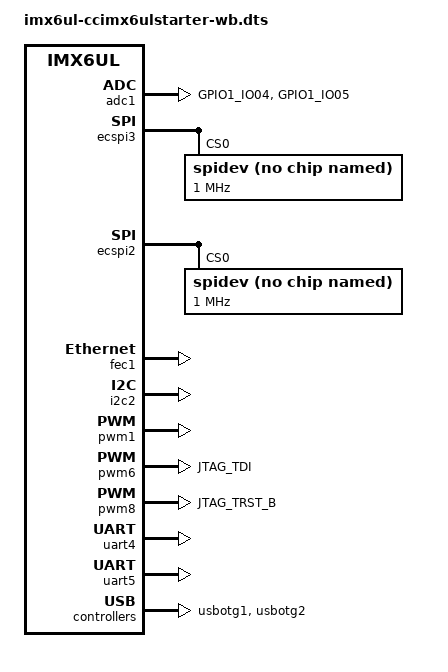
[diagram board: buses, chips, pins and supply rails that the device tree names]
/*
 * Copyright 2016, 2017 Digi International, Inc.
 *
 * The code contained herein is licensed under the GNU General Public
 * License. You may obtain a copy of the GNU General Public License
 * Version 2 or later at the following locations:
 *
 * http://www.opensource.org/licenses/gpl-license.html
 * http://www.gnu.org/copyleft/gpl.html
 */

/dts-v1/;
#include <dt-bindings/input/input.h>
#include <dt-bindings/interrupt-controller/irq.h>
/* i.MX6 UltraLite CPU */
#include "imx6ul.dtsi"
/* ConnectCore 6UL (wireless/bluetooth variant) */
#include "imx6ul-ccimx6ul-wb.dtsi"
/* ConnectCore 6UL StarterBoard */
#include "imx6ul-ccimx6ulstarter.dtsi"

/*
 * Include in adc-ch-list the ADC channels (from 0 to 9) that you want to
 * enable. Note that the iomux has to be configured accordingly in pinctrl_adc1
 * to configure the pad for ADC operation
 */
&adc1 {
	pinctrl-names = "default";
	pinctrl-0 = <&pinctrl_adc1>;
	adc-ch-list = <4 5>;
	status = "okay";
};

/* ECSPI3 (as master - Raspberry PI Expansion header) */
&ecspi3 {
	status = "okay";

	/*
	 * Add your slave devices here. Next is an example of spidev.
	 * Expect a harmless kernel warning if you enable spidev as slave.
	 */
	spidev@0 {
		reg = <0>;
		compatible = "spidev";
		spi-max-frequency = <1000000>;
	};
};

&ecspi2 {
	status = "okay";

	/*
        * Add your slave devices here. Next is an example of spidev.
        * Expect a harmless kernel warning if you enable spidev as slave.
        */
	spidev@0 {
		reg = <0>;
		compatible = "spidev";
		spi-max-frequency = <1000000>;
	};
};

&fec1 {
	status = "okay";
};

/* I2C2 (Raspberry PI Expansion header and Grove connector) */
&i2c2 {
	status = "okay";
};

/* MCA IO0 connected to Grove ADC connector */
&mca_adc {
	digi,adc-ch-list = <0 4>;
	digi,adc-vref = <3000000>;
};

/* Uncomment to Enable Tamper detection. There are 2 digital (0 and 1) and 2
 * analog (2 and 3) tamper interfaces.
 */
//&mca_tamper {
//	digi,tamper-if-list = <0 1 2 3>;
//};

/* PWM1 (Raspberry PI Expansion header) */
&pwm1 {
	status = "okay";
};

&pwm6 {
	pinctrl-names = "default";
	pinctrl-0 = <&pinctrl_pwm6>;
	status = "okay";
};

&pwm8 {
	pinctrl-names = "default";
	pinctrl-0 = <&pinctrl_pwm8>;
	status = "okay";
};

/* UART4 (Raspberry PI Expansion header) */
&uart4 {
	status = "okay";
};

/* UART5 (Console) */
&uart5 {
	status = "okay";
};

&usbotg1 {
	status = "okay";
};

&usbotg2 {
	status = "okay";
};

/* Pin mux configuration */
&iomuxc {
	pinctrl-0 =  <&pinctrl_hog>, <&pinctrl_expansion>;

	imx6ul-ccimx6ul {
		pinctrl_adc1: adc1grp {
			fsl,pins = <
				/* GPIO1_4/ADC1_IN4 (pin 7 of the expansion header) */
				MX6UL_PAD_GPIO1_IO04__GPIO1_IO04        0xb0
				/* GPIO1_5/ADC1_IN5 (pin 29 of the expansion header) */
				MX6UL_PAD_GPIO1_IO05__GPIO1_IO05        0xb0
			>;
		};
	
		pinctrl_pwm6: pwm6grp {
			fsl,pins = <
				MX6UL_PAD_JTAG_TDI__PWM6_OUT		0x10b0
			>;
		};
	
		pinctrl_pwm8: pwm8grp {
			fsl,pins = <
				MX6UL_PAD_JTAG_TRST_B__PWM8_OUT		0x10b0
			>;
		};

		/* Expansion Connector */
		pinctrl_expansion: expansiongrp {
			fsl,pins = <
				/*
				 * Comment the pads you wish to use on any
				 * device driver, and uncomment the ones you
				 * want to use as GPIO (requires disabling the
				 * driver that manages them).
				 */
				/* Digital (LED) LATCH pin59 */
				MX6UL_PAD_LCD_RESET__GPIO3_IO04		0xf030
				/* PWM6 CP2 pin41 */
				/*MX6UL_PAD_JTAG_TDI__GPIO1_IO13	0x1b0b0 */
				/* Сигнал чтения карты (OUT4) pin64 */
				MX6UL_PAD_LCD_DATA05__GPIO3_IO10	0x1b0b0
				/* Датчик открытия дверей (IN4) pin33 */
				MX6UL_PAD_JTAG_MOD__GPIO1_IO10		0x1b0b0
				/* Замок розетки (actuator) (OUT1) pin34 */
				MX6UL_PAD_JTAG_TMS__GPIO1_IO11		0x1b0b0
				/* (Подтянут на +) не используется pin63 */
				/*MX6UL_PAD_LCD_DATA07__GPIO3_IO12	0x1b0b0 */
				/* Не используется pin68 */
				/* MX6UL_PAD_LCD_DATA01__GPIO3_IO06	0x1b0b0 */
				/* ADC CP 1 (i.MX6UL ADC channel 5) pin18 */
				/* MX6UL_PAD_GPIO1_IO05__GPIO1_IO05	0x1b0b0 */
				/* Digital (LED) CLOCK pin61 */
				MX6UL_PAD_LCD_DATA03__GPIO3_IO08	0x1b0b0
				/* 3G Modem Power on/off PWM3 pin66 */
				MX6UL_PAD_LCD_DATA02__GPIO3_IO07	0x1b0b0
				/* Замок розетки (actuator) (OUT2) pin39 */
				MX6UL_PAD_JTAG_TDO__GPIO1_IO12		0x1b0b0
				/* IRQ SPI2. Управление автоматом (OUT) pin14 */
				MX6UL_PAD_CSI_MCLK__GPIO4_IO17		0x1b0b0
				/* Управление OE для LED pin15 */
				MX6UL_PAD_CSI_PIXCLK__GPIO4_IO18	0x1b0b0
				/* PWM CP1 chip2 pin42 */
				/*MX6UL_PAD_JTAG_TRST_B__GPIO1_IO15	0x1b0b0 */
				/* IRQ FAULT (IN) pin40 */
				MX6UL_PAD_JTAG_TCK__GPIO1_IO14		0x1b0b0
				/* Датчик удар/вибрации (IN1) / CAN pin10 */
				MX6UL_PAD_LCD_DATA08__GPIO3_IO13	0x1b0b0
				/* Датчик температуры (IN2) / CAN pin11 */
				MX6UL_PAD_LCD_DATA09__GPIO3_IO14	0x1b0b0
				/* Кнопка замка бытовой розетки (IN3) pin21 */
				MX6UL_PAD_CSI_VSYNC__GPIO4_IO19		0x1b0b0
				/* IRQ SPI3 pin17 */
				MX6UL_PAD_CSI_HSYNC__GPIO4_IO20		0x1b0b0

			>;
		};
	};
};
